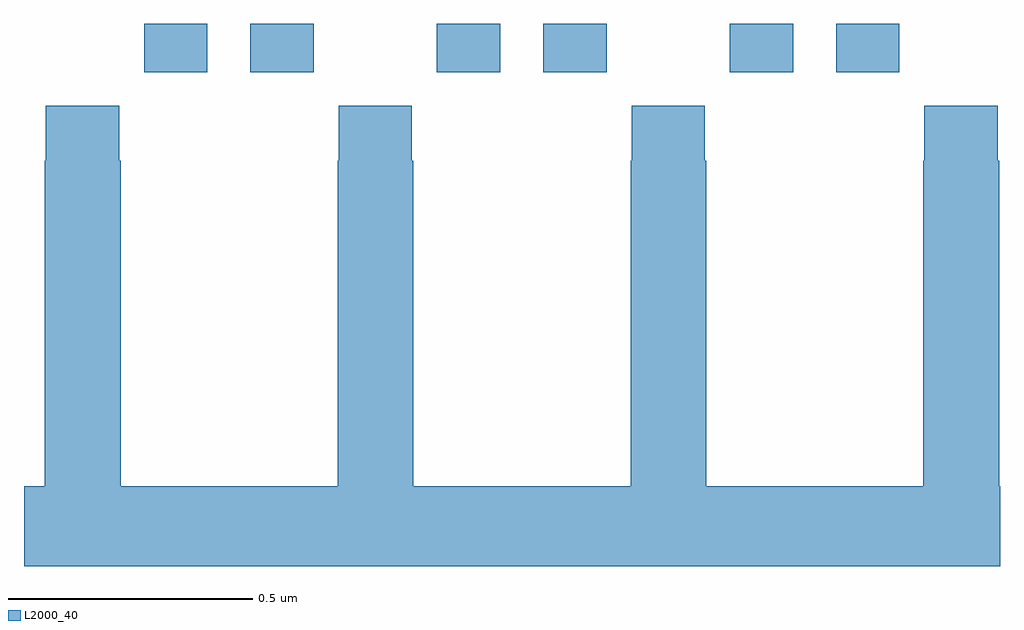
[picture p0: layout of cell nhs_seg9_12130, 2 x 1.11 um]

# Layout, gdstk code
import gdstk
lib = gdstk.Library(unit=1e-6, precision=1e-09)
def R(c, l, rs):  # rectangles x0, y0, x1, y1
    for r in rs: c.add(gdstk.rectangle(r[:2], r[2:], *l))
def P(c, l, *ps):  # polygons
    for p in ps: c.add(gdstk.Polygon(p, *l))
L2000_40 = (2000, 40)

nhs_seg9_12130 = lib.new_cell('nhs_seg9_12130')
R(nhs_seg9_12130, L2000_40, [(264.246,1229.4,264.376,1229.5), (264.464,1229.4,264.594,1229.5), (264.846,1229.4,264.976,1229.5), (265.064,1229.4,265.194,1229.5), (265.446,1229.4,265.576,1229.5), (265.664,1229.4,265.794,1229.5)])
P(nhs_seg9_12130, L2000_40, [(266,1228.552),(265.998,1228.552),(265.998,1229.219),(265.995,1229.219),(265.995,1229.332),(265.845,1229.332),(265.845,1229.219),(265.843,1229.219),(265.843,1228.552),(265.398,1228.552),(265.398,1229.219),(265.395,1229.219),(265.395,1229.332),(265.245,1229.332),(265.245,1229.219),(265.243,1229.219),(265.243,1228.552),(264.798,1228.552),(264.798,1229.219),(264.795,1229.219),(264.795,1229.332),(264.645,1229.332),(264.645,1229.219),(264.643,1229.219),(264.643,1228.552),(264.198,1228.552),(264.198,1229.219),(264.195,1229.219),(264.195,1229.332),(264.045,1229.332),(264.045,1229.219),(264.043,1229.219),(264.043,1228.552),(264,1228.552),(264,1228.388),(266,1228.388)])

lib.write_gds('nhs_seg9_12130.gds')
